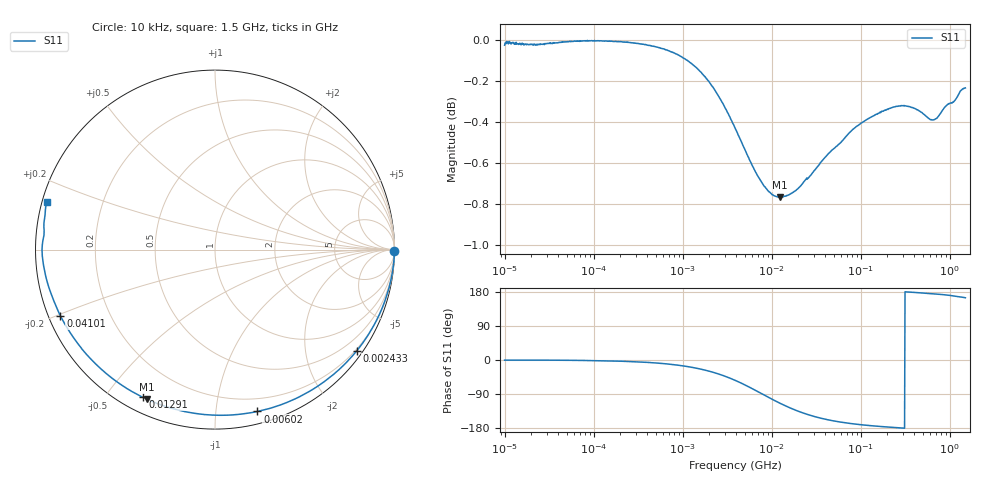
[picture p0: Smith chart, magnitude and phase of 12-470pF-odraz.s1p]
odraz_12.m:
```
clear all
close all
clc

%% Load data
sparam = sparameters('mereni/12-470pF-odraz.s1p');

Z0 = sparam.Impedance;
s11 = reshape(sparam.Parameters, [],1);
f=sparam.Frequencies;

zparam = s2z(s11, Z0);



ZL = Z0*((1+s11)./(1-s11));

%% Fit
Cx = 4e-10;
Lx = 7e-10;
Rx = 1;

ZL_fit = Rx + 1i*((2 * pi() * f * Lx) - (1./(2*pi()*f*Cx)));

s11_estim = (ZL_fit-Z0)./(ZL_fit+Z0);

sparam_fit = sparameters(s11_estim, f, Z0);

%% Plot
fig = figure('Name','Impedance','NumberTitle','off');
loglog(f/1e9,abs(ZL)/1e3,  'r', f/1e9,abs(ZL_fit)/1e3,'b')
legend('ZNB','Model','Location', 'Best')
xlabel('f [GHz]'), ylabel('|Z| [k\Omega]')
grid on
saveas(fig, 'res/12.png')

%% Find resonance
f = 10000:1:100000;
Z_fit = @(f)((2 * pi() * f * Lx) - (1./(2*pi()*f*Cx)));
figure()
y=Z_fit(f);
plot(f,y)
hold on
plot(f, zeros(size(f)))
```
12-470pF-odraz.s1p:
#  HZ  S  DB  R  50.00
! Rohde & Schwarz Vector Network Analyzer
! Rohde-Schwarz,ZNB8-4Port,1334333044101560,3.32
! Created: UTC 3/21/2023, 5:10:05 PM
! freq[Hz]  db:S11  ang:S11
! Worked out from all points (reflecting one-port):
!   1001 points, 10 kHz to 1.5 GHz, reference 50 ohm
!   lowest |S11| = -0.8 dB at 12.45 MHz (marker M1), VSWR 22.67, Z = 3.12 - j32.2 ohm
!   phase of S11 starts at -0 deg and turns -195 deg over the sweep
!   S11 on the Smith chart (normalised r, x): 10 kHz: open; 2.433 MHz: 0.16, -3.11; 6.02 MHz: 0.09, -1.29; 12.91 MHz: 0.06, -0.62; 41.01 MHz: 0.03, -0.20; 1.5 GHz: 0.01, +0.14
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10000  -0.03 -0.5
120726.6  -0.01 -1.9
535567.8  -0.04 -8.4
1176079  -0.11 -18.0
2433201  -0.26 -35.6
3781755  -0.42 -52.4
6019508  -0.61 -75.3
8504869  -0.72 -94.2
1.245382e7  -0.77 -114.3
1.290716e7  -0.76 -116.1
2.834346e7  -0.65 -147.3
4.101207e7  -0.57 -156.8
1.65392e8  -0.35 -175.4
1.5e9  -0.23 164.2
